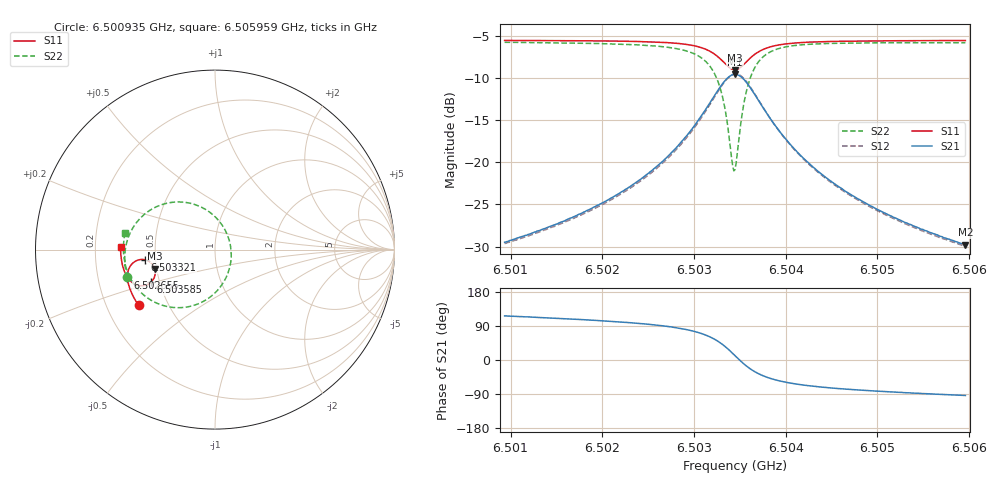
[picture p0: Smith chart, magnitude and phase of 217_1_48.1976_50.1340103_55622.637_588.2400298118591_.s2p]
#  HZ  S  RI  R  50.00
! Rohde & Schwarz Vector Network Analyzer
! Rohde-Schwarz,ZNB20-2Port,1311601062101988,3.16
! Created: UTC 3/20/2024, 11:45:46 AM
! freq[Hz]  re:S11  im:S11  re:S21  im:S21  re:S12  im:S12  re:S22  im:S22
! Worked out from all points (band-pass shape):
!   401 points, 6.500935 GHz to 6.505959 GHz, reference 50 ohm
!   highest |S21| = -9.59 dB at 6.503447 GHz (marker M1); lowest = -29.8 dB at 6.505959 GHz (marker M2)
!   |S21| within 3 dB of the highest: 6.503195 GHz to 6.503698 GHz (503.3 kHz wide, 0.00774 % of centre)
!   lowest |S11| = -9.1 dB at 6.503447 GHz (marker M3), VSWR 2.09, Z = 24.4 - j5.93 ohm
!   |S11| at or under -10 dB: nowhere
!   |S22| runs from -21.0 to -5.8 dB; largest |S21 - S12| = 0.012
!   S11 on the Smith chart (normalised r, x): 6.500935 GHz: 0.34, -0.29; 6.502655 GHz: 0.33, -0.14; 6.503321 GHz: 0.44, -0.06; 6.503585 GHz: 0.45, -0.19; 6.505959 GHz: 0.31, +0.01
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6.5009346e9  -0.4256 -0.3101  -0.0148 0.0301  -0.0132 0.0302  -0.4894 -0.1554
6.5017761e9  -0.4619 -0.248  -0.0142 0.0478  -0.0118 0.0474  -0.5028 -0.0663
6.5022534e9  -0.4787 -0.2055  -0.0113 0.0682  -0.00803 0.0669  -0.4995 0.00194
6.5026177e9  -0.4871 -0.1651  -0.00229 0.0969  0.00142 0.0945  -0.4803 0.0751
6.5026554e9  -0.4876 -0.1602  -0.000365 0.101  0.00324 0.0986  -0.4764 0.0847
6.5029317e9  -0.4835 -0.1172  0.0265 0.1436  0.0302 0.1392  -0.4205 0.1706
6.5031202e9  -0.4621 -0.0791  0.0811 0.1859  0.0835 0.1797  -0.3162 0.2431
6.5032332e9  -0.4291 -0.0584  0.1504 0.2034  0.1513 0.197  -0.1906 0.2651
6.5033211e9  -0.3886 -0.057  0.2305 0.1868  0.2308 0.1815  -0.0527 0.2238
6.5033588e9  -0.3691 -0.0648  0.267 0.1633  0.2677 0.1586  0.00746 0.1761
6.5034216e9  -0.3424 -0.0919  0.3147 0.0987  0.3172 0.0936  0.0793 0.0518
6.5034467e9  -0.336 -0.1066  0.3247 0.0661  0.328 0.0602  0.0899 -0.00909
6.5034719e9  -0.3331 -0.1224  0.3282 0.0322  0.3317 0.0252  0.0877 -0.071
6.5035347e9  -0.3403 -0.1598  0.3095 -0.046  0.3116 -0.0562  0.0307 -0.2067
6.5035849e9  -0.357 -0.1819  0.2756 -0.0917  0.2753 -0.1029  -0.0462 -0.2778
6.5036854e9  -0.397 -0.2006  0.1996 -0.1343  0.1944 -0.1443  -0.2018 -0.3237
6.5038487e9  -0.4453 -0.1928  0.1134 -0.1342  0.1063 -0.1396  -0.3581 -0.281
6.5040245e9  -0.4739 -0.1718  0.0665 -0.1141  0.0601 -0.1165  -0.4347 -0.2152
6.5042883e9  -0.4961 -0.1402  0.0341 -0.088  0.0293 -0.0888  -0.4817 -0.1385
6.5046526e9  -0.5114 -0.1022  0.0153 -0.0653  0.0121 -0.0651  -0.5038 -0.0656
6.5051299e9  -0.5211 -0.0578  0.00506 -0.0482  0.00271 -0.0475  -0.5103 0.00242
6.5059589e9  -0.526 0.0123  -0.00205 -0.0324  -0.00339 -0.0316  -0.5026 0.0902
